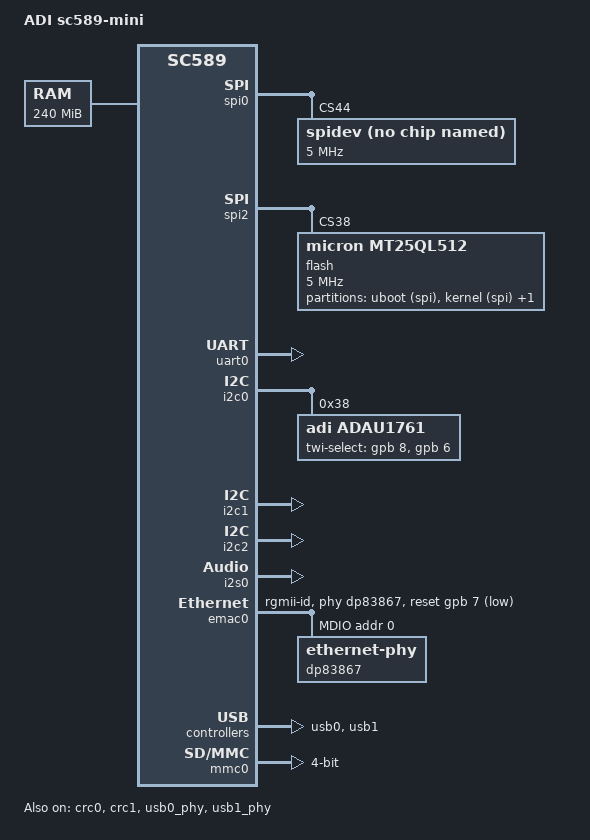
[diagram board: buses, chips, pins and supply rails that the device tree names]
/*
 * Device tree for ADI sc589-mini board
 *
 * Copyright 2014 - 2018 Analog Devices Inc.
 *
 * Licensed under the GPL-2 or later.
 *
 */

/dts-v1/;

#include <dt-bindings/net/ti-dp83867.h>
#include "sc58x.dtsi"

/ {
	model = "ADI sc589-mini";
	compatible = "adi,sc589-mini", "adi,sc58x";

	aliases {
	};

	memory@C3000000 {
		device_type = "memory";
		reg = <0xC3000000 0xF000000>;
	};

	scb {

		button0: button@0 {
			compatible = "adi,button-led";
			button_gpio = <80>;
			led_gpio = <49>;
		};
		button1: button@1 {
			compatible = "adi,button-led";
			button_gpio = <81>;
			led_gpio = <50>;
		};

		core1-rproc@0x3108b000 {
			compatible = "adi,remoteproc";
			reg = <0x3108b000 0x70>;
			core-id = <1>;
			core-irq = <76>;
			firmware-name = "adi_adsp_core1_fw.ldr";
			interrupt-parent = <&gic>;
			interrupts = <0 250 1>;
		};

		sound {
			compatible = "sc5xx,asoc-card";
			adi,cpu-dai = <&i2s0>;
			adi,codec = <&adau1761>;
		};
	};
};

&spi0 {
	pinctrl-names = "default";
	pinctrl-0 = <&spi0_default>;
	status = "okay";

	spidev {
		#address-cells = <1>;
		#size-cells = <1>;
		compatible = "rohm,dh2228fv";
		spi-max-frequency = <5000000>;
		reg = <44>;
	};
};

&spi2 {
	pinctrl-names = "default";
	pinctrl-0 = <&spi2_quad>;
	status = "okay";

	flash: mt25ql512@0 {
		#address-cells = <1>;
		#size-cells = <1>;
		compatible = "micron,mt25ql512", "jedec,spi-nor";
		spi-max-frequency = <5000000>;
		reg = <38>;

		partition@0 {
			label = "uboot (spi)";
			reg = <0x0 0x80000>;
		};
		partition@1 {
			label = "kernel (spi)";
			reg = <0x80000 0x580000>;
		};
		partition@2 {
			label = "root file system (spi)";
			reg = <0x600000 0x3a00000>;
		};
	};
};

&uart0 {
	pinctrl-names = "default", "hwflow";
	pinctrl-0 = <&uart0_default>;
	pinctrl-1 = <&uart0_hwflow>;
	status = "okay";
};

&crc0 {
	status = "okay";
};

&crc1 {
	status = "okay";
};

&i2c0 {
	status = "okay";
	adau1761:adau1761@0x38{
		compatible = "adi,adau1761";
		reg = <0x38>;
		twi-select-gpio = <&gpb 8 0>, 	/* Low: ADAU1761 TWI0 Connected */
				<&gpb 6 0>;
	};
};

&i2c1 {
	status = "okay";
};

&i2c2 {
	status = "okay";
};

&i2s0 {
	reg = <0x31002000 0x80>, <0x31002080 0x80>;
	interrupts = <0 53 IRQ_TYPE_LEVEL_HIGH>,
			<0 55 IRQ_TYPE_LEVEL_HIGH>;
	dma-channel = <0>, <1>;
	status = "okay";
};

&emac0 {
	snps,reset-gpio = <&gpb 7 0>;
	snps,reset-active-low;
	snps,reset-delays-us = <0 10000 1000000>;
	phy-handle = <&dp83867>;
	phy-mode = "rgmii-id";
	pinctrl-names = "default";
	pinctrl-0 = <&eth0_default>;
	status = "okay";
	mdio0 {
		compatible = "snps,dwmac-mdio";
		#address-cells = <1>;
		#size-cells = <0>;
		dp83867: ethernet-phy@0 {
			reg = <0>;
			ti,rx-internal-delay = <DP83867_RGMIIDCTL_2_00_NS>;
			ti,tx-internal-delay = <DP83867_RGMIIDCTL_2_00_NS>;
			ti,fifo-depth = <DP83867_PHYCR_FIFO_DEPTH_8_B_NIB>;
			ti,dp83867-rxctrl-strap-quirk;
		};
	};
};

&usb0_phy {
	status = "okay";
};

&usb0 {
	mode = <3>; /* OTG port */
	status = "okay";
};

&usb1_phy {
	status = "okay";
};

&usb1 {
	mode = <1>; /* Host port */
	status = "okay";
};

&mmc0 {
	bus-width = <4>;
	pinctrl-names = "default";
	pinctrl-0 = <&mmc0_4bgrp>;
	supports-highspeed;
	status = "okay";
};

&sram_mmap {
	status = "okay";
};
